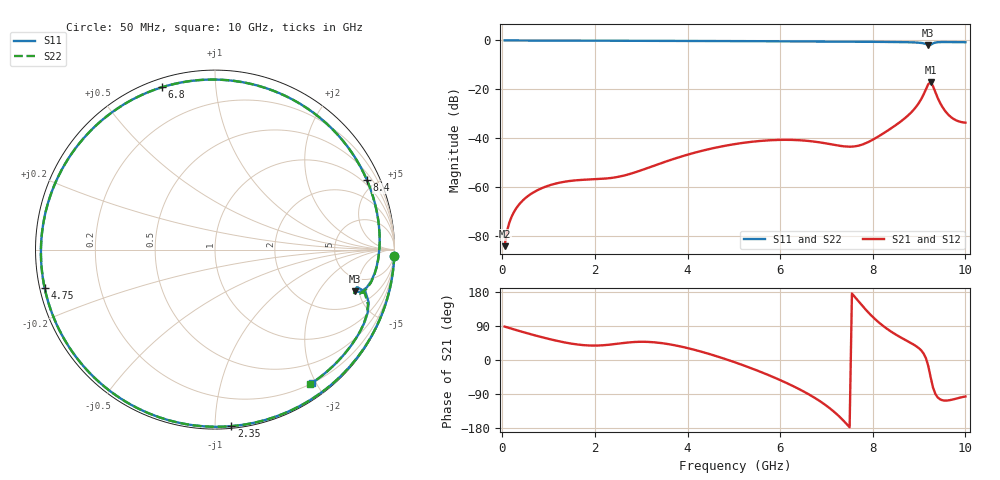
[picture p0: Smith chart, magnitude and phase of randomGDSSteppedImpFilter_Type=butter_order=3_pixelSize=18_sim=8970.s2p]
! freq	dB(S11)	phase(S11)	dB(S12)	phase(S12)
!  dB(S21)	phase(S21)	dB(S22)	phase(S22)
!S-par simulation data
#  GHz  S  DB  R 50
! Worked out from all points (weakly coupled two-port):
!   200 points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, 50 MHz to 10 GHz, reference 50 ohm
!   highest |S21| = -17.13 dB at 9.25 GHz (marker M1); lowest = -84.0 dB at 50 MHz (marker M2)
!   lowest |S11| = -1.8 dB at 9.2 GHz (marker M3), VSWR 9.62, Z = 165 - j225 ohm
!   |S11| at or under -10 dB: nowhere
!   |S22| runs from -1.8 to 0.0 dB; largest |S21 - S12| = 0
!   S11 on the Smith chart (normalised r, x): 50 MHz: 1, -60; 2.35 GHz: 0.01, -1.10; 4.75 GHz: 0.01, -0.11; 6.8 GHz: 0.04, +0.72; 8.4 GHz: 0.77, +4.48; 10 GHz: 0.20, -1.95
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0.05  -0.00 -1.9  -83.98 88.1  -83.98 88.1  -0.00 -1.9
0.25  -0.01 -9.3  -70.09 80.8  -70.09 80.8  -0.01 -9.3
0.6  -0.03 -22.3  -62.89 68.5  -62.89 68.5  -0.03 -22.3
1.1  -0.05 -40.6  -58.68 52.8  -58.68 52.8  -0.05 -40.6
1.75  -0.08 -63.8  -56.87 39.3  -56.87 39.3  -0.08 -63.8
2.35  -0.11 -84.7  -56.14 40.9  -56.14 40.9  -0.11 -84.7
3.4  -0.15 -120.5  -50.30 45.2  -50.30 45.2  -0.15 -120.5
4.75  -0.24 -167.2  -43.21 5.2  -43.21 5.2  -0.24 -167.2
5.05  -0.26 -178.2  -42.22 -7.2  -42.22 -7.2  -0.26 -178.2
5.85  -0.33 150.6  -40.68 -45.0  -40.68 -45.0  -0.33 150.4
6.7  -0.42 113.0  -41.21 -96.4  -41.21 -96.4  -0.42 112.8
6.8  -0.43 108.2  -41.45 -104.0  -41.45 -104.0  -0.43 108.0
7.25  -0.48 85.9  -42.89 -146.0  -42.89 -146.0  -0.48 85.6
7.65  -0.52 65.1  -43.12 160.9  -43.12 160.9  -0.52 64.7
8.35  -0.61 27.2  -36.45 78.7  -36.45 78.7  -0.62 26.7
8.4  -0.62 24.5  -35.82 74.6  -35.82 74.6  -0.62 24.0
8.9  -0.81 -2.9  -27.93 39.4  -27.93 39.4  -0.81 -3.5
9.2  -1.81 -16.7  -17.79 -16.5  -17.79 -16.5  -1.82 -17.3
9.25  -1.75 -14.8  -17.13 -45.6  -17.13 -45.6  -1.75 -15.5
9.35  -0.86 -19.0  -21.06 -89.1  -21.06 -89.1  -0.86 -19.7
9.6  -0.65 -34.3  -29.65 -107.1  -29.65 -107.1  -0.65 -35.0
10  -0.73 -53.9  -33.56 -96.2  -33.56 -96.2  -0.74 -54.8
